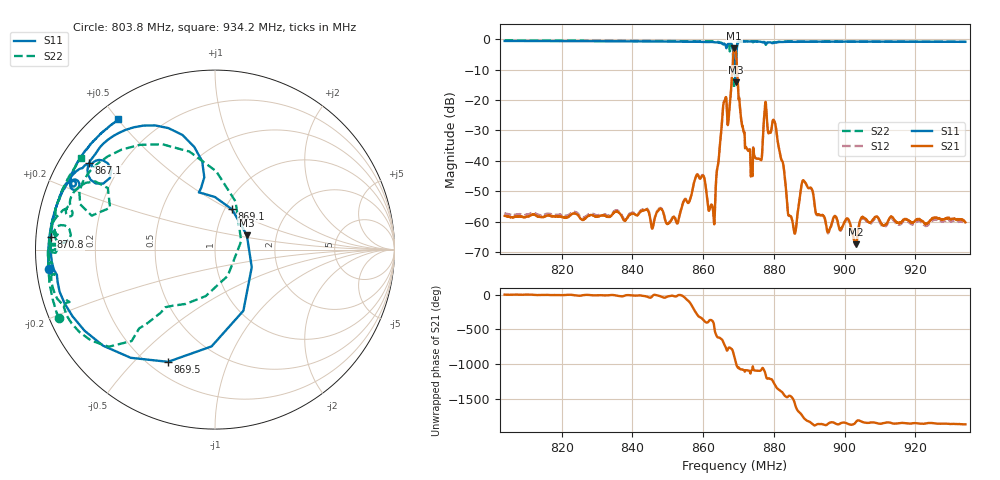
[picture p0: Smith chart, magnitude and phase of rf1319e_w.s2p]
!rf1319e,demo1wide,bn,01/18/07
# HZ S RI R 50
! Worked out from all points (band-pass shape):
!   1601 points, 803.8 MHz to 934.2 MHz, reference 50 ohm
!   highest |S21| = -3.08 dB at 868.8 MHz (marker M1); lowest = -67.3 dB at 903.2 MHz (marker M2)
!   |S21| within 3 dB of the highest: 868.4334 MHz to 869.3948 MHz (961.4 kHz wide, 0.111 % of centre)
!   lowest |S11| = -14.2 dB at 869.2 MHz (marker M3), VSWR 1.48, Z = 70.4 + j11.8 ohm
!   |S11| at or under -10 dB: 868.9285 MHz to 869.298 MHz (369.5 kHz wide, 0.0425 % of centre)
!   |S22| runs from -16.3 to -0.4 dB; largest |S21 - S12| = 0.073
!   S11 on the Smith chart (normalised r, x): 803.8 MHz: 0.03, -0.06; 867.1 MHz: 0.09, +0.31; 869.1 MHz: 1.08, +0.52; 869.5 MHz: 0.27, -0.63; 870.8 MHz: 0.04, +0.04; 934.2 MHz: 0.06, +0.50
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8.03825e8  -0.9274 -0.1069  0.00126 -9.8e-06  0.00134 -0.000126  -0.8699 -0.3834
8.255772e8  -0.9228 0.0656  0.00106 -0.000257  0.00108 -0.000378  -0.9138 -0.2281
8.473293e8  -0.8823 0.2452  0.00148 -0.000416  0.00147 -0.000597  -0.9286 -0.0558
8.527063e8  -0.8626 0.2937  0.000913 -0.000248  0.000882 -0.000352  -0.9294 -0.00177
8.584091e8  -0.8318 0.353  0.00251 0.00544  0.00317 0.00516  -0.9136 0.0507
8.627269e8  -0.7924 0.4174  0.0015 -0.000694  0.00141 -0.000853  -0.9075 0.1343
8.658227e8  -0.6886 0.4664  0.0859 0.0323  0.0885 0.0228  -0.8039 0.1852
8.671263e8  -0.7006 0.4836  0.0319 -0.0317  0.0279 -0.0336  -0.7751 0.334
8.687556e8  -0.0782 0.3412  -0.6776 -0.1825  -0.6963 -0.2093  0.071 -0.1465
8.690815e8  0.0949 0.2242  -0.5059 0.4459  -0.5253 0.5076  -0.2764 -0.321
8.691629e8  0.1774 0.0807  -0.3579 0.5523  -0.3494 0.6198  -0.3016 -0.3508
8.694888e8  -0.2618 -0.6253  0.1866 0.3249  0.2262 0.3269  -0.4642 -0.5095
8.707923e8  -0.9142 0.0683  0.045 0.00617  0.0467 0.0011  -0.9123 -0.1583
8.740511e8  -0.8577 0.3099  0.00612 0.00774  0.00724 0.0073  -0.8905 0.0321
8.775542e8  -0.7643 0.3839  0.0606 -0.0632  0.0528 -0.0696  -0.8364 0.1345
8.801612e8  -0.8012 0.3609  -0.0411 0.0169  -0.0389 0.0215  -0.8824 0.0866
8.857011e8  -0.7903 0.4371  5.75e-05 -0.00071  -1.99e-05 -0.000698  -0.9061 0.1531
8.882266e8  -0.7803 0.4572  0.00327 0.00352  0.00361 0.00308  -0.8951 0.178
8.907522e8  -0.7694 0.4791  0.00229 -0.00257  0.00194 -0.00276  -0.8887 0.1983
9.032169e8  -0.7081 0.5674  0.000383 -0.000194  0.000335 -0.000218  -0.8631 0.2999
9.125043e8  -0.66 0.6218  0.0009 -0.000572  0.000812 -0.000628  -0.832 0.3687
9.34175e8  -0.5381 0.725  0.000494 -0.00085  0.00038 -0.000828  -0.7448 0.5083
